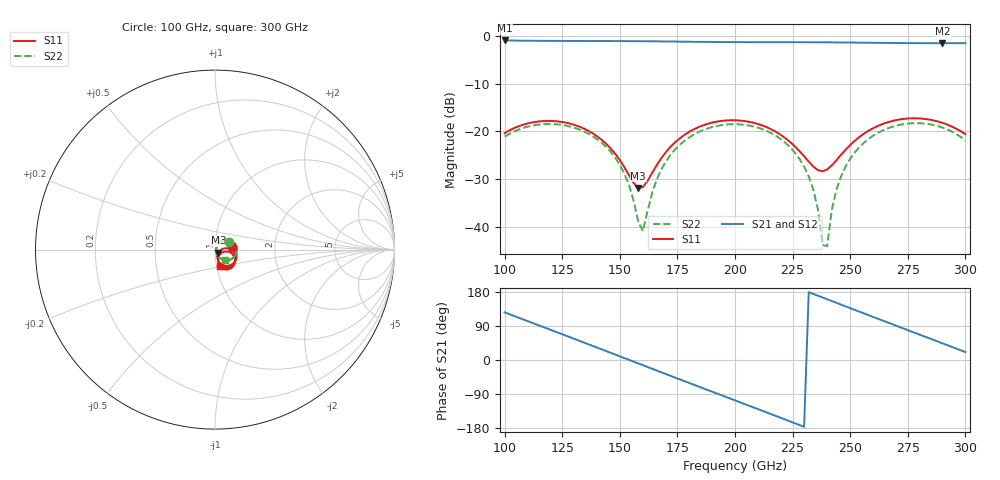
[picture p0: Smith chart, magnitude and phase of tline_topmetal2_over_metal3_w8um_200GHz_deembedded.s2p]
! Created with skrf 2.0.1 (http://scikit-rf.org).
# GHz S DB R 50.0
!freq dBS11 angS11 dBS21 angS21 dBS12 angS12 dBS22 angS22
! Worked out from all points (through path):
!   101 points, 100 GHz to 300 GHz, reference 50 ohm
!   highest |S21| = -0.88 dB at 100 GHz (marker M1); lowest = -1.5 dB at 290 GHz (marker M2)
!   group delay of S21, straight-line fit = 6.46 ps
!   lowest |S11| = -31.9 dB at 158 GHz (marker M3), VSWR 1.05, Z = 51.9 - j1.73 ohm
!   |S11| at or under -10 dB: start of sweep to end of sweep
!   |S22| runs from -44.1 to -18.3 dB; largest |S21 - S12| = 1.1e-14
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100  -20.37 9.7  -0.88 125.7  -0.88 125.7  -21.11 30.8
116  -17.84 -21.8  -0.96 88.7  -0.96 88.7  -18.50 0.6
134  -19.31 -56.9  -0.99 47.1  -0.99 47.1  -19.92 -34.9
150  -26.02 -74.7  -1.01 9.8  -1.01 9.8  -27.01 -62.1
154  -29.20 -67.0  -1.02 0.4  -1.02 0.4  -31.29 -63.2
158  -31.87 -40.8  -1.04 -9.0  -1.04 -9.0  -38.91 -40.2
160  -31.70 -22.5  -1.05 -13.7  -1.05 -13.7  -40.97 9.0
168  -25.64 7.2  -1.08 -32.4  -1.08 -32.4  -27.99 55.8
184  -19.13 -10.6  -1.17 -69.6  -1.17 -69.6  -20.18 29.3
200  -17.65 -39.4  -1.23 -106.6  -1.23 -106.6  -18.47 -3.4
222  -21.47 -72.8  -1.25 -157.6  -1.25 -157.6  -22.44 -49.3
234  -27.38 -61.3  -1.26 174.3  -1.26 174.3  -32.25 -69.1
236  -28.14 -51.9  -1.27 169.7  -1.27 169.7  -36.41 -67.4
238  -28.38 -40.8  -1.27 165.0  -1.27 165.0  -43.85 -48.0
240  -28.00 -29.9  -1.28 160.3  -1.28 160.3  -44.11 47.0
242  -27.15 -21.0  -1.29 155.6  -1.29 155.6  -36.53 67.7
244  -26.06 -14.9  -1.29 150.9  -1.29 150.9  -32.31 69.4
248  -23.85 -9.5  -1.31 141.5  -1.31 141.5  -27.39 64.8
256  -20.46 -12.8  -1.35 122.9  -1.35 122.9  -22.36 49.4
268  -17.83 -29.2  -1.41 95.0  -1.41 95.0  -19.05 23.8
290  -18.19 -63.5  -1.45 44.1  -1.45 44.1  -19.17 -24.8
300  -20.56 -73.7  -1.45 20.9  -1.45 20.9  -21.91 -47.5
